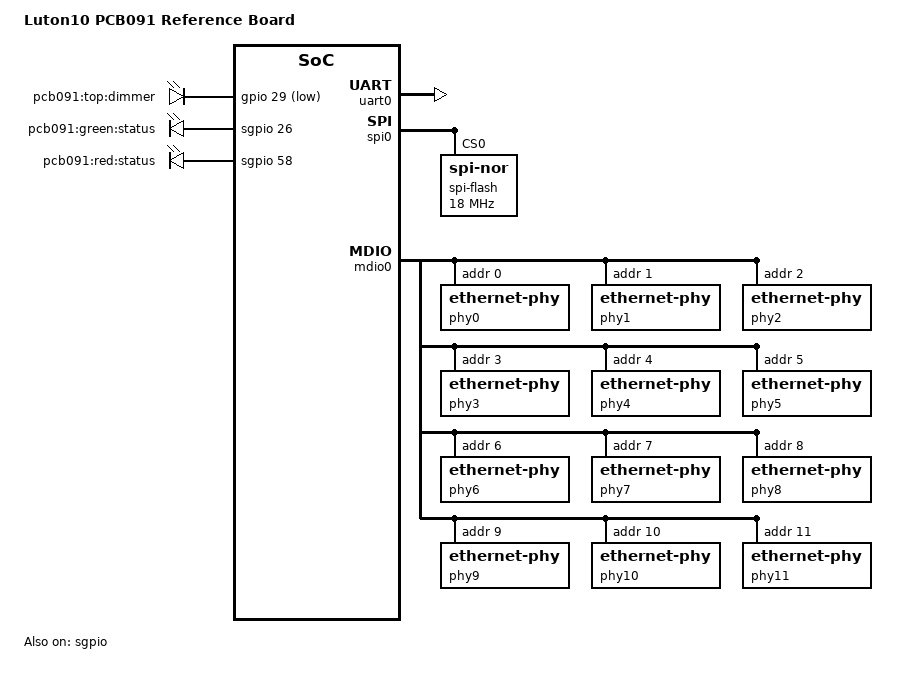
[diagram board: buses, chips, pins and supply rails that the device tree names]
// SPDX-License-Identifier: (GPL-2.0+ OR MIT)
/*
 * Copyright (c) 2018 Microsemi Corporation
 */

/dts-v1/;
#include "mscc,luton.dtsi"

/ {
	model = "Luton10 PCB091 Reference Board";
	compatible = "mscc,luton-pcb091", "mscc,luton";

	aliases {
		serial0 = &uart0;
		spi0 = &spi0;
	};

	chosen {
		stdout-path = "serial0:115200n8";
	};

	gpio-leds {
		compatible = "gpio-leds";

		top_dimmer {
			label = "pcb091:top:dimmer";
			gpios = <&gpio 29 GPIO_ACTIVE_LOW>;
			default-state = "on";
		};

		status_green {
			label = "pcb091:green:status";
			gpios = <&sgpio 26 GPIO_ACTIVE_HIGH>; /* p26.0 */
			default-state = "on";
		};

		status_red {
			label = "pcb091:red:status";
			gpios = <&sgpio 58 GPIO_ACTIVE_HIGH>; /* p26.1 */
			default-state = "off";
		};
	};
};

&sgpio {
	status = "okay";
	mscc,sgpio-ports = <0xFFF000FF>;
};

&uart0 {
	status = "okay";
};

&spi0 {
	status = "okay";
	spi-flash@0 {
		compatible = "jedec,spi-nor";
		spi-max-frequency = <18000000>; /* input clock */
		reg = <0>; /* CS0 */
		spi-cs-high;
	};
};

&mdio0 {
	status = "okay";

	phy0: ethernet-phy@0 {
		reg = <0>;
	};
	phy1: ethernet-phy@1 {
		reg = <1>;
	};
	phy2: ethernet-phy@2 {
		reg = <2>;
	};
	phy3: ethernet-phy@3 {
		reg = <3>;
	};
	phy4: ethernet-phy@4 {
		reg = <4>;
	};
	phy5: ethernet-phy@5 {
		reg = <5>;
	};
	phy6: ethernet-phy@6 {
		reg = <6>;
	};
	phy7: ethernet-phy@7 {
		reg = <7>;
	};
	phy8: ethernet-phy@8 {
		reg = <8>;
	};
	phy9: ethernet-phy@9 {
		reg = <9>;
	};
	phy10: ethernet-phy@10 {
		reg = <10>;
	};
	phy11: ethernet-phy@11 {
		reg = <11>;
	};
};

&switch {
	ethernet-ports {
		port0: port@0 {
			reg = <0>;
			phy-handle = <&phy0>;
		};
		port1: port@1 {
			reg = <1>;
			phy-handle = <&phy1>;
		};
		port2: port@2 {
			reg = <2>;
			phy-handle = <&phy2>;
		};
		port3: port@3 {
			reg = <3>;
			phy-handle = <&phy3>;
		};
		port4: port@4 {
			reg = <4>;
			phy-handle = <&phy4>;
		};
		port5: port@5 {
			reg = <5>;
			phy-handle = <&phy5>;
		};
		port6: port@6 {
			reg = <6>;
			phy-handle = <&phy6>;
		};
		port7: port@7 {
			reg = <7>;
			phy-handle = <&phy7>;
		};
		port8: port@8 {
			reg = <8>;
			phy-handle = <&phy8>;
		};
		port9: port@9 {
			reg = <9>;
			phy-handle = <&phy9>;
		};
		port10: port@10 {
			reg = <10>;
			phy-handle = <&phy10>;
		};
		port11: port@11 {
			reg = <11>;
			phy-handle = <&phy11>;
		};
	};
};
